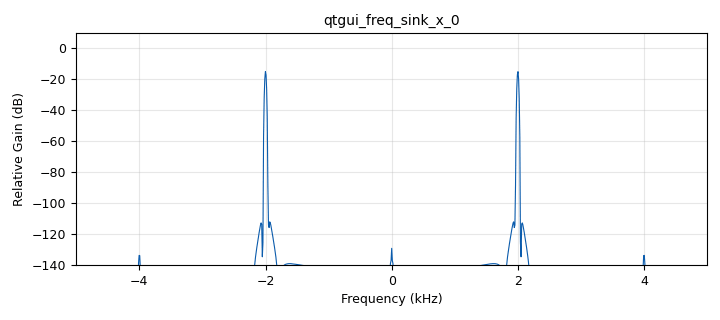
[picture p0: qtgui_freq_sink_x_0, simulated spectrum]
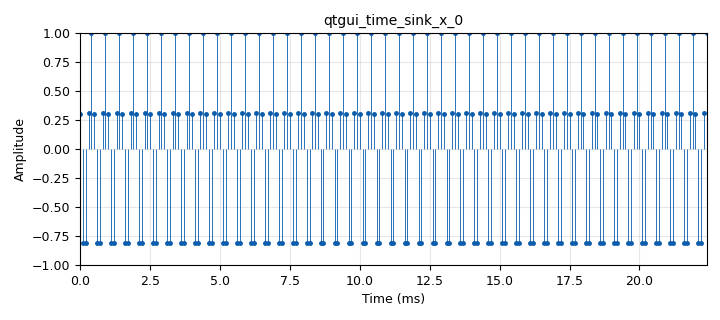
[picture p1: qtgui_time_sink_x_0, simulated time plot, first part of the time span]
options:
  parameters:
    author: Juan_Morales_Fabian_Moreno_B1A_G5
    generate_options: qt_gui
    id: untitled
    output_language: python
    title: Nyquist
  states: {}

blocks:
- name: freq
  id: variable_qtgui_range
  parameters:
    label: Frequency
    start: '1000'
    step: '100'
    stop: '40000'
    value: '2000'
  states: {}
- name: samp_rate
  id: variable_qtgui_range
  parameters:
    label: Señal
    start: '1000'
    step: '1000'
    stop: '80000'
    value: '10000'
  states: {}
- name: samp_rate
  id: variable
  parameters:
    value: '32000'
  states: {state: disabled}
- name: analog_sig_source_x_0
  id: analog_sig_source_x
  parameters:
    amp: '1'
    freq: freq
    offset: '0'
    phase: '0'
    samp_rate: samp_rate
    type: float
    waveform: analog.GR_COS_WAVE
  states: {}
- name: blocks_throttle_0
  id: blocks_throttle
  parameters:
    samples_per_second: samp_rate
    type: float
  states: {}
- name: qtgui_freq_sink_x_0
  id: qtgui_freq_sink_x
  parameters:
    bw: samp_rate
    fc: '0'
    fftsize: '1024'
    type: float
  states: {}
- name: qtgui_time_sink_x_0
  id: qtgui_time_sink_x
  parameters:
    entags: 'False'
    size: '1024'
    srate: samp_rate
    stemplot: 'True'
    type: float
    update_time: '0.1'
  states: {}

connections:
- [analog_sig_source_x_0, '0', blocks_throttle_0, '0']
- [blocks_throttle_0, '0', qtgui_freq_sink_x_0, '0']
- [blocks_throttle_0, '0', qtgui_time_sink_x_0, '0']

metadata:
  file_format: 1
  grc_version: 3.10.5.1
